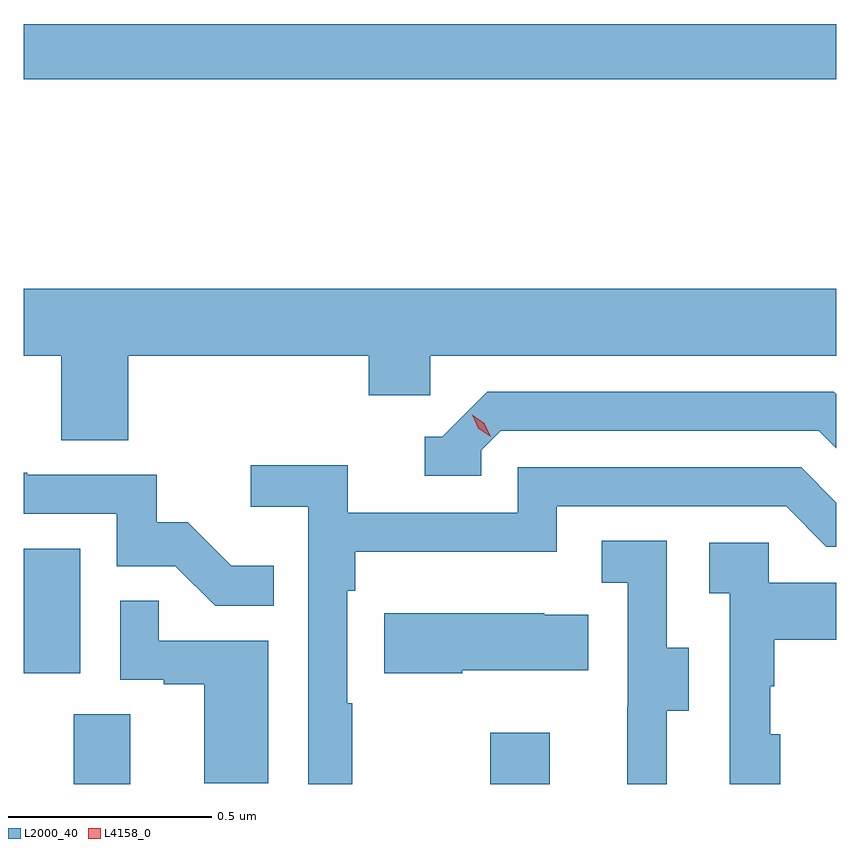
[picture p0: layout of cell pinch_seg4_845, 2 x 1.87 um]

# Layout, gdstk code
import gdstk
lib = gdstk.Library(unit=1e-6, precision=1e-09)
def R(c, l, rs):  # rectangles x0, y0, x1, y1
    for r in rs: c.add(gdstk.rectangle(r[:2], r[2:], *l))
def P(c, l, *ps):  # polygons
    for p in ps: c.add(gdstk.Polygon(p, *l))
L2000_40 = (2000, 40)
L4158_0 = (4158, 0)

pinch_seg4_845 = lib.new_cell('pinch_seg4_845')
R(pinch_seg4_845, L2000_40, [(888.743,809.086,888.883,809.258), (889.768,809.086,889.915,809.212), (888.62,809.358,888.76,809.665), (888.62,810.82,890.62,810.956)])
P(pinch_seg4_845, L2000_40, [(888.878,810.14),(889.469,810.14),(889.469,810.042),(889.62,810.042),(889.62,810.14),(890.62,810.14),(890.62,810.304),(888.62,810.304),(888.62,810.14),(888.713,810.14),(888.713,809.932),(888.878,809.932)],
  [(889.746,809.907),(889.794,809.955),(890.577,809.955),(890.62,809.912),(890.62,810.045),(890.614,810.051),(889.761,810.051),(889.65,809.94),(889.607,809.94),(889.607,809.844),(889.746,809.844)],
  [(889.429,809.285),(889.416,809.285),(889.416,809.561),(889.436,809.561),(889.436,809.657),(889.932,809.657),(889.932,809.769),(890.496,809.769),(890.595,809.67),(890.62,809.67),(890.62,809.778),(890.533,809.865),(889.836,809.865),(889.836,809.754),(889.418,809.754),(889.418,809.87),(889.179,809.87),(889.179,809.768),(889.32,809.768),(889.32,809.086),(889.429,809.086)],
  [(889.235,809.623),(889.131,809.623),(889.024,809.73),(888.948,809.73),(888.948,809.847),(888.629,809.847),(888.629,809.852),(888.62,809.852),(888.62,809.751),(888.849,809.751),(888.849,809.622),(888.993,809.622),(889.091,809.524),(889.235,809.524)],
  [(890.203,809.266),(890.257,809.266),(890.257,809.421),(890.202,809.421),(890.202,809.684),(890.043,809.684),(890.043,809.581),(890.106,809.581),(890.106,809.277),(890.105,809.277),(890.105,809.086),(890.203,809.086)],
  [(890.482,809.208),(890.457,809.208),(890.457,809.327),(890.467,809.327),(890.467,809.441),(890.62,809.441),(890.62,809.581),(890.454,809.581),(890.454,809.679),(890.307,809.679),(890.307,809.555),(890.358,809.555),(890.358,809.086),(890.482,809.086)],
  [(889.222,809.439),(888.953,809.439),(888.953,809.537),(888.858,809.537),(888.858,809.343),(888.965,809.343),(888.965,809.331),(889.064,809.331),(889.064,809.088),(889.222,809.088)],
  [(889.699,809.366),(890.009,809.366),(890.009,809.503),(889.901,809.503),(889.901,809.506),(889.508,809.506),(889.508,809.359),(889.699,809.359)])
P(pinch_seg4_845, L4158_0, [(889.769,809.941),(889.739,809.961),(889.724,809.994),(889.724,809.994),(889.724,809.994),(889.754,809.974),(889.77,809.941),(889.77,809.941)])

lib.write_gds('pinch_seg4_845.gds')
